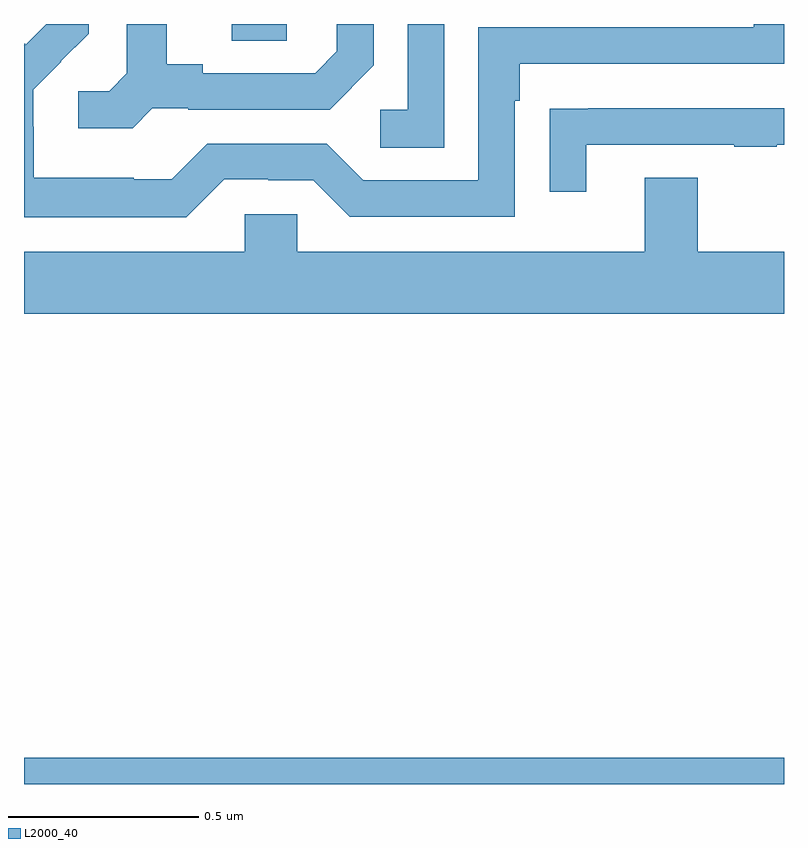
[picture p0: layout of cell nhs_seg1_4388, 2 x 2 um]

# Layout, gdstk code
import gdstk
lib = gdstk.Library(unit=1e-6, precision=1e-09)
def R(c, l, rs):  # rectangles x0, y0, x1, y1
    for r in rs: c.add(gdstk.rectangle(r[:2], r[2:], *l))
def P(c, l, *ps):  # polygons
    for p in ps: c.add(gdstk.Polygon(p, *l))
L2000_40 = (2000, 40)

nhs_seg1_4388 = lib.new_cell('nhs_seg1_4388')
R(nhs_seg1_4388, L2000_40, [(166,513.199,168,513.268), (166.547,515.155,166.692,515.199)])
P(nhs_seg1_4388, L2000_40, [(167.106,515.199),(167.01,515.199),(167.01,514.974),(166.938,514.974),(166.938,514.873),(167.106,514.873)],
  [(166.527,514.791),(166.643,514.791),(166.643,514.788),(166.761,514.788),(166.857,514.692),(167.292,514.692),(167.292,514.997),(167.305,514.997),(167.305,515.094),(168,515.094),(168,515.199),(167.921,515.199),(167.921,515.19),(167.196,515.19),(167.196,514.788),(166.893,514.788),(166.797,514.884),(166.482,514.884),(166.389,514.791),(166.289,514.791),(166.289,514.795),(166.026,514.795),(166.026,514.929),(166.024,514.929),(166.024,515.026),(166.098,515.1),(166.097,515.101),(166.17,515.174),(166.17,515.199),(166.059,515.199),(166.005,515.145),(166.002,515.148),(166,515.146),(166,514.691),(166.427,514.691)],
  [(166.338,514.977),(166.432,514.977),(166.432,514.974),(166.804,514.974),(166.92,515.09),(166.92,515.199),(166.823,515.199),(166.823,515.127),(166.766,515.07),(166.471,515.07),(166.471,515.093),(166.375,515.093),(166.375,515.199),(166.271,515.199),(166.271,515.069),(166.224,515.022),(166.143,515.022),(166.143,514.925),(166.286,514.925)],
  [(167.479,514.881),(167.869,514.881),(167.869,514.876),(167.981,514.876),(167.981,514.881),(168,514.881),(168,514.977),(167.485,514.977),(167.485,514.976),(167.383,514.976),(167.383,514.758),(167.479,514.758)],
  [(168,514.6),(167.773,514.6),(167.773,514.795),(167.633,514.795),(167.633,514.6),(166.719,514.6),(166.719,514.698),(166.581,514.698),(166.581,514.6),(166,514.6),(166,514.436),(168,514.436)])

lib.write_gds('nhs_seg1_4388.gds')
